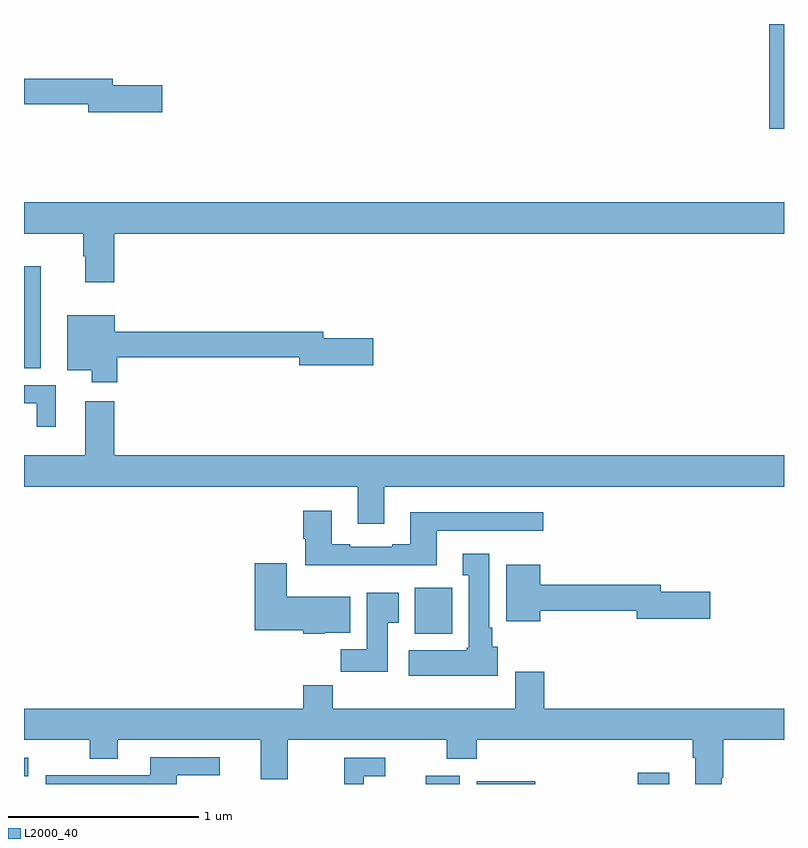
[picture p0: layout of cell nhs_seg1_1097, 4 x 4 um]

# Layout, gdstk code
import gdstk
lib = gdstk.Library(unit=1e-6, precision=1e-09)
def R(c, l, rs):  # rectangles x0, y0, x1, y1
    for r in rs: c.add(gdstk.rectangle(r[:2], r[2:], *l))
def P(c, l, *ps):  # polygons
    for p in ps: c.add(gdstk.Polygon(p, *l))
L2000_40 = (2000, 40)

nhs_seg1_1097 = lib.new_cell('nhs_seg1_1097')
R(nhs_seg1_1097, L2000_40, [(173.114,518.199,173.293,518.242), (173.382,518.199,173.692,518.214), (174.23,518.199,174.397,518.257), (171,518.241,171.022,518.337), (173.057,518.99,173.254,519.232), (171,520.388,171.088,520.924), (174.923,521.649,175,522.199)])
P(nhs_seg1_1097, L2000_40, [(171.727,521.876),(171.466,521.876),(171.466,521.912),(171,521.912),(171,521.776),(171.338,521.776),(171.338,521.734),(171.727,521.734)],
  [(171.476,521.096),(175,521.096),(175,521.26),(171,521.26),(171,521.096),(171.311,521.096),(171.311,520.976),(171.323,520.976),(171.323,520.839),(171.476,520.839)],
  [(171.491,520.444),(172.448,520.444),(172.448,520.402),(172.837,520.402),(172.837,520.544),(172.576,520.544),(172.576,520.58),(171.478,520.58),(171.478,520.666),(171.227,520.666),(171.227,520.376),(171.356,520.376),(171.356,520.314),(171.491,520.314)],
  [(171.166,520.299),(171,520.299),(171,520.203),(171.068,520.203),(171.068,520.08),(171.166,520.08)],
  [(172.897,519.764),(175,519.764),(175,519.928),(171.476,519.928),(171.476,520.213),(171.323,520.213),(171.323,519.928),(171,519.928),(171,519.764),(172.757,519.764),(172.757,519.57),(172.897,519.57)],
  [(173.173,519.531),(173.734,519.531),(173.734,519.628),(173.033,519.628),(173.033,519.46),(172.937,519.46),(172.937,519.447),(172.717,519.447),(172.717,519.46),(172.621,519.46),(172.621,519.637),(172.469,519.637),(172.469,519.489),(172.481,519.489),(172.481,519.35),(173.173,519.35)],
  [(173.494,518.922),(173.464,518.922),(173.464,519.022),(173.449,519.022),(173.449,519.412),(173.309,519.412),(173.309,519.299),(173.342,519.299),(173.342,518.916),(173.329,518.916),(173.329,518.902),(173.025,518.902),(173.025,518.768),(173.494,518.768)],
  [(172.584,518.996),(172.717,518.996),(172.717,519.184),(172.384,519.184),(172.384,519.361),(172.214,519.361),(172.214,519.008),(172.47,519.008),(172.47,518.99),(172.584,518.99)],
  [(173.716,519.112),(174.224,519.112),(174.224,519.07),(174.613,519.07),(174.613,519.212),(174.352,519.212),(174.352,519.248),(173.716,519.248),(173.716,519.352),(173.537,519.352),(173.537,519.056),(173.716,519.056)],
  [(172.915,519.049),(172.972,519.049),(172.972,519.205),(172.805,519.205),(172.805,518.908),(172.666,518.908),(172.666,518.79),(172.915,518.79)],
  [(173.585,518.791),(173.585,518.596),(172.625,518.596),(172.625,518.72),(172.469,518.72),(172.469,518.596),(171,518.596),(171,518.432),(171.346,518.432),(171.346,518.333),(171.493,518.333),(171.493,518.432),(172.247,518.432),(172.247,518.224),(172.387,518.224),(172.387,518.432),(173.224,518.432),(173.224,518.333),(173.384,518.333),(173.384,518.432),(174.521,518.432),(174.521,518.336),(174.533,518.336),(174.533,518.199),(174.673,518.199),(174.673,518.233),(174.681,518.233),(174.681,518.432),(175,518.432),(175,518.596),(173.738,518.596),(173.738,518.791)],
  [(171.805,518.244),(172.03,518.244),(172.03,518.34),(171.665,518.34),(171.665,518.244),(171.114,518.244),(171.114,518.199),(171.805,518.199)],
  [(172.789,518.241),(172.9,518.241),(172.9,518.337),(172.685,518.337),(172.685,518.199),(172.789,518.199)])

lib.write_gds('nhs_seg1_1097.gds')
